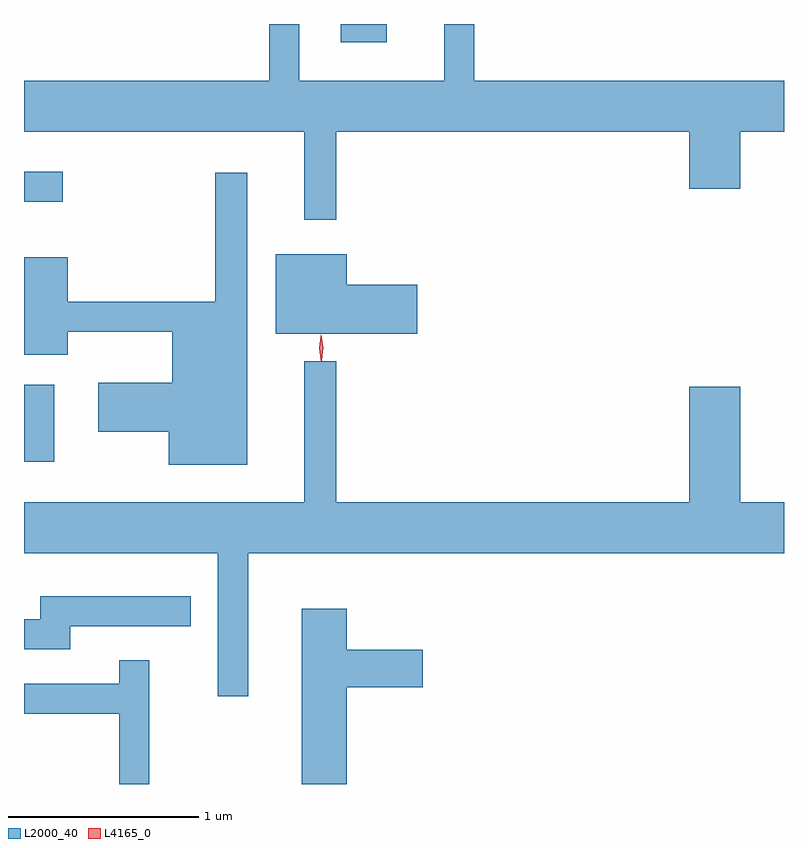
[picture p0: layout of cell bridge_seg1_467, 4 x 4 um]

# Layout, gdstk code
import gdstk
lib = gdstk.Library(unit=1e-6, precision=1e-09)
def R(c, l, rs):  # rectangles x0, y0, x1, y1
    for r in rs: c.add(gdstk.rectangle(r[:2], r[2:], *l))
def P(c, l, *ps):  # polygons
    for p in ps: c.add(gdstk.Polygon(p, *l))
L2000_40 = (2000, 40)
L4165_0 = (4165, 0)

bridge_seg1_467 = lib.new_cell('bridge_seg1_467')
R(bridge_seg1_467, L2000_40, [(231.555,845.926,231.758,846.084), (233.221,846.766,233.464,846.862)])
P(bridge_seg1_467, L2000_40, [(233.199,846.296),(235.056,846.296),(235.056,845.996),(235.324,845.996),(235.324,846.296),(235.555,846.296),(235.555,846.564),(233.924,846.564),(233.924,846.862),(233.766,846.862),(233.766,846.564),(233.004,846.564),(233.004,846.862),(232.846,846.862),(232.846,846.564),(231.555,846.564),(231.555,846.296),(233.031,846.296),(233.031,845.833),(233.199,845.833)],
  [(232.729,846.078),(232.561,846.078),(232.561,845.399),(231.784,845.399),(231.784,845.634),(231.555,845.634),(231.555,845.121),(231.784,845.121),(231.784,845.241),(232.336,845.241),(232.336,844.974),(231.946,844.974),(231.946,844.716),(232.316,844.716),(232.316,844.541),(232.729,844.541)],
  [(233.624,845.489),(233.254,845.489),(233.254,845.649),(232.881,845.649),(232.881,845.231),(233.624,845.231)],
  [(232.734,844.076),(235.555,844.076),(235.555,844.344),(235.324,844.344),(235.324,844.954),(235.056,844.954),(235.056,844.344),(233.199,844.344),(233.199,845.088),(233.031,845.088),(233.031,844.344),(231.555,844.344),(231.555,844.076),(232.576,844.076),(232.576,843.323),(232.734,843.323)],
  [(231.714,844.964),(231.555,844.964),(231.555,844.806),(231.556,844.806),(231.556,844.558),(231.714,844.558)],
  [(231.799,843.691),(232.433,843.691),(232.433,843.849),(231.641,843.849),(231.641,843.729),(231.555,843.729),(231.555,843.571),(231.799,843.571)],
  [(233.254,843.371),(233.654,843.371),(233.654,843.569),(233.254,843.569),(233.254,843.784),(233.016,843.784),(233.016,842.862),(233.254,842.862)],
  [(232.214,843.513),(232.056,843.513),(232.056,843.389),(231.555,843.389),(231.555,843.231),(232.056,843.231),(232.056,842.862),(232.214,842.862)])
P(bridge_seg1_467, L4165_0, [(233.118,845.093),(233.117,845.094),(233.108,845.156),(233.117,845.22),(233.118,845.22),(233.118,845.22),(233.128,845.156),(233.118,845.094)],
  [(233.12,845.09),(233.11,845.158),(233.119,845.226),(233.12,845.226),(233.12,845.226),(233.13,845.158),(233.121,845.09),(233.121,845.09)])

lib.write_gds('bridge_seg1_467.gds')
